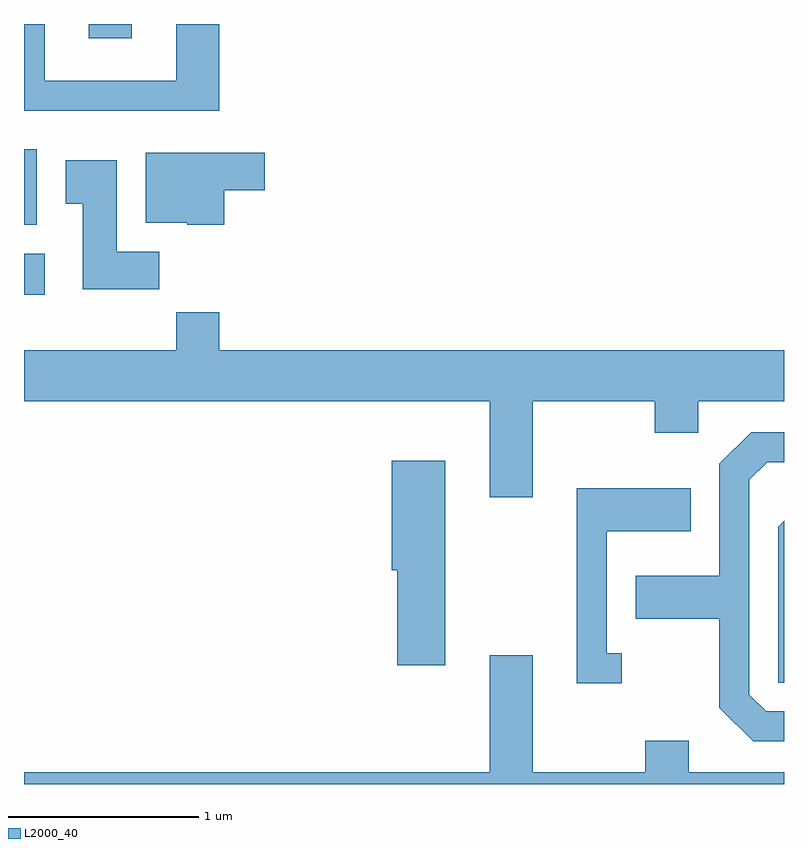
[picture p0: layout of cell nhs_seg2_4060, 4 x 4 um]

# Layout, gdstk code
import gdstk
lib = gdstk.Library(unit=1e-6, precision=1e-09)
def R(c, l, rs):  # rectangles x0, y0, x1, y1
    for r in rs: c.add(gdstk.rectangle(r[:2], r[2:], *l))
def P(c, l, *ps):  # polygons
    for p in ps: c.add(gdstk.Polygon(p, *l))
L2000_40 = (2000, 40)

nhs_seg2_4060 = lib.new_cell('nhs_seg2_4060')
R(nhs_seg2_4060, L2000_40, [(303.611,1104.376,303.719,1104.594), (303.611,1104.746,303.679,1105.144), (303.951,1105.726,304.179,1105.802)])
P(nhs_seg2_4060, L2000_40, [(304.639,1105.802),(304.411,1105.802),(304.411,1105.504),(303.719,1105.504),(303.719,1105.802),(303.611,1105.802),(303.611,1105.346),(304.639,1105.346)],
  [(304.664,1104.926),(304.879,1104.926),(304.879,1105.124),(304.251,1105.124),(304.251,1104.756),(304.47,1104.756),(304.47,1104.746),(304.664,1104.746)],
  [(304.324,1104.604),(304.099,1104.604),(304.099,1105.084),(303.831,1105.084),(303.831,1104.856),(303.921,1104.856),(303.921,1104.406),(304.324,1104.406)],
  [(306.289,1103.816),(306.931,1103.816),(306.931,1103.651),(307.159,1103.651),(307.159,1103.816),(307.611,1103.816),(307.611,1104.084),(304.639,1104.084),(304.639,1104.284),(304.411,1104.284),(304.411,1104.084),(303.611,1104.084),(303.611,1103.816),(306.061,1103.816),(306.061,1103.311),(306.289,1103.311)],
  [(307.611,1102.184),(307.517,1102.184),(307.429,1102.272),(307.429,1103.404),(307.522,1103.496),(307.611,1103.496),(307.611,1103.654),(307.439,1103.654),(307.271,1103.487),(307.271,1102.899),(306.831,1102.899),(306.831,1102.671),(307.271,1102.671),(307.271,1102.204),(307.449,1102.026),(307.611,1102.026)],
  [(305.829,1103.504),(305.546,1103.504),(305.546,1102.926),(305.576,1102.926),(305.576,1102.426),(305.829,1102.426)],
  [(306.758,1102.489),(306.679,1102.489),(306.679,1103.131),(307.119,1103.131),(307.119,1103.359),(306.521,1103.359),(306.521,1102.331),(306.758,1102.331)],
  [(307.611,1103.187),(307.581,1103.157),(307.581,1102.336),(307.611,1102.336)],
  [(307.611,1101.864),(307.109,1101.864),(307.109,1102.029),(306.881,1102.029),(306.881,1101.864),(306.289,1101.864),(306.289,1102.479),(306.061,1102.479),(306.061,1101.864),(303.611,1101.864),(303.611,1101.802),(307.611,1101.802)])

lib.write_gds('nhs_seg2_4060.gds')
